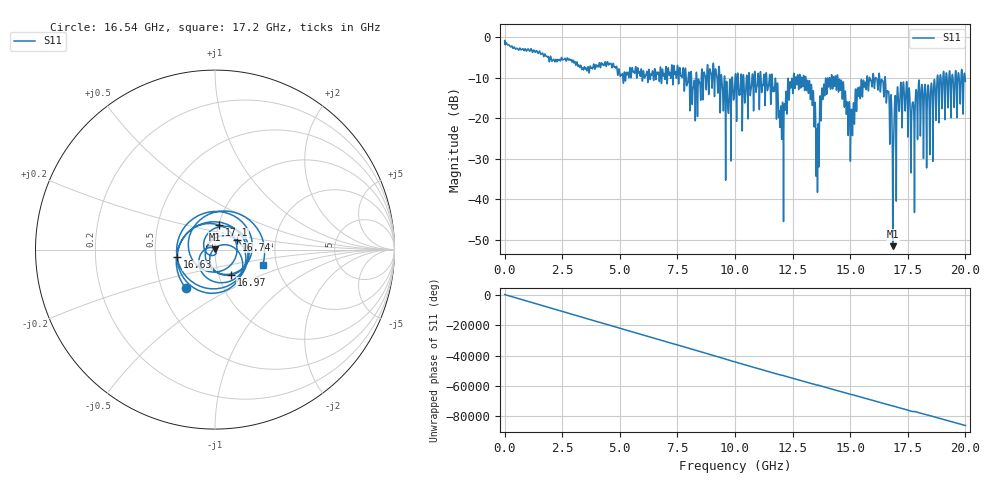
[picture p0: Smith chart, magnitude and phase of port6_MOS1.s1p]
! MS46122B
! 2250307/22442219
! 6/18/2025 1:29:31 PM
! C:\USERS\SPARKY\DOCUMENTS\VNA_DATA\JUNE18_2025\295K\PORT6_MOS1.S1P
! CHANNEL.1
! TR.MEASUREMENT
! RAW.DATA
# GHZ S RI R 50.0
! FREQ.GHZ  S11RE  S11IM
!; PortSelection: Port_1
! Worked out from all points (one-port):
!   10001 points, 1 MHz to 20 GHz, reference 50 ohm
!   lowest |S11| = -51.5 dB at 16.85 GHz (marker M1), VSWR 1.01, Z = 50.1 + j0.252 ohm
!   |S11| at or under -10 dB: 11.62 GHz to 12.54 GHz (918.2 MHz wide, 7.6 % of centre); 14.46 GHz to 15.73 GHz (1.264 GHz wide, 8.37 % of centre); 16.52 GHz to 18.78 GHz (2.25 GHz wide, 12.7 % of centre) (the widest 3 of 75)
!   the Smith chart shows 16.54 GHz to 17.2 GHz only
!   S11 on the Smith chart (normalised r, x): 16.54 GHz: 0.66, -0.31; 16.63 GHz: 0.65, -0.06; 16.74 GHz: 1.26, +0.14; 16.97 GHz: 1.15, -0.33; 17.1 GHz: 1.01, +0.28; 17.2 GHz: 1.69, -0.31
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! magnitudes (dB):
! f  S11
! 1 MHz  -1.0
! 2.501 GHz  -5.3
! 5.001 GHz  -9.2
! 7.501 GHz  -6.9
! 10 GHz  -10.2
! 11.67 GHz  -12.4
! 12.03 GHz  -24.8
! 12.5 GHz  -13.4
! 13.24 GHz  -10.8
! 13.57 GHz  -27.0
! 13.77 GHz  -12.6
! 14.11 GHz  -10.0
! 14.62 GHz  -10.8
! 15 GHz  -26.2
! 15.66 GHz  -11.1
! 16.54 GHz  -11.4
! 16.63 GHz  -13.3
! 16.74 GHz  -17.6
! 16.85 GHz  -51.5
! 16.97 GHz  -15.5
! 17.1 GHz  -17.2
! 17.2 GHz  -11.1
! 17.5 GHz  -23.2
! 17.71 GHz  -16.0
! 17.92 GHz  -25.2
! 18.39 GHz  -11.7
! 18.98 GHz  -17.4
! 20 GHz  -10.8
